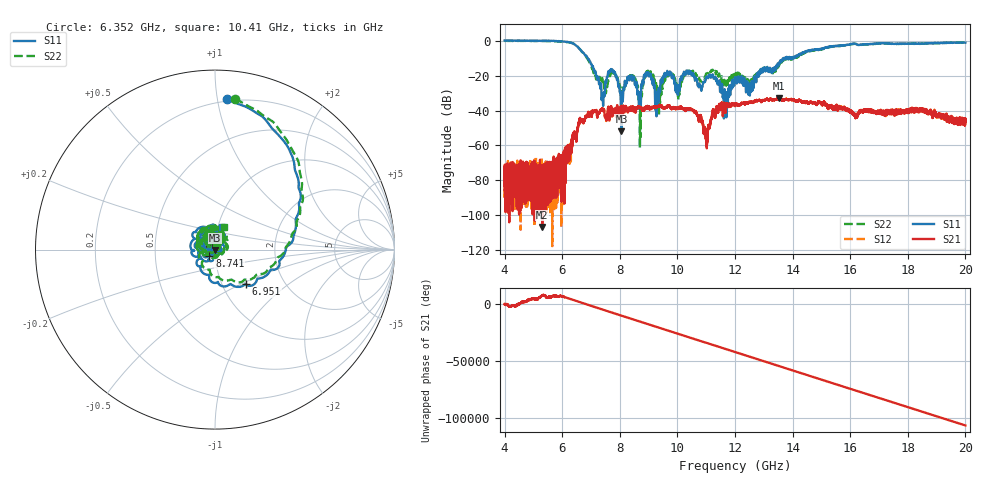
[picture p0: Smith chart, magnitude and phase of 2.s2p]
[Version] 2.0
! Rohde & Schwarz Vector Network Analyzer
! Rohde-Schwarz,ZNL20-2Port,1323001220200009,1.71.1.10-23.02.1.238
! Port Assignments:
! Nominal Port -> Actual Test Port
!  1 -> 1
!  2 -> 2
! Created: GMT+2 2025-01-17 12:07:00
# Hz S RI R 50
[Number of Ports] 2
[Two-Port Data Order] 21_12
! freq[Hz]  S11[Re]  S11[Im]  S21[Re]  S21[Im]  S12[Re]  S12[Im]  S22[Re]  S22[Im]
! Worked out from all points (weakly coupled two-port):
!   16001 points, 4 GHz to 20 GHz, reference 50 ohm
!   highest |S21| = -32.99 dB at 13.52 GHz (marker M1); lowest = -106.6 dB at 5.307 GHz (marker M2)
!   lowest |S11| = -51.9 dB at 8.055 GHz (marker M3), VSWR 1.01, Z = 49.9 - j0.233 ohm
!   |S11| at or under -10 dB: 6.887 GHz to 13.7 GHz (6.814 GHz wide, 66.2 % of centre); 13.71201 GHz to 13.74183 GHz (29.83 MHz wide, 0.217 % of centre); 13.9421 GHz to 13.96586 GHz (23.77 MHz wide, 0.17 % of centre) (the widest 3 of 9)
!   |S22| runs from -61.7 to 0.0 dB; largest |S21 - S12| = 0.0023
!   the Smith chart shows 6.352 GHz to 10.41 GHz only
!   S11 on the Smith chart (normalised r, x): 6.352 GHz: 0.18, +1.07; 6.951 GHz: 1.29, -0.54; 8.741 GHz: 0.94, -0.07; 10.41 GHz: 1.05, +0.26
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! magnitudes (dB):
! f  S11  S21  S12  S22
! 4 GHz  0.0  -71.6  -89.9  -0.2
! 5.307 GHz  -0.1  -106.6  -82.4  -0.3
! 5.765 GHz  -0.2  -72.9  -89.8  -0.5
! 6.352 GHz  -1.5  -60.3  -57.8  -1.5
! 6.667 GHz  -5.9  -45.9  -45.5  -6.0
! 6.951 GHz  -11.7  -42.9  -42.8  -12.6
! 7.401 GHz  -30.4  -39.1  -39.0  -22.4
! 7.719 GHz  -16.8  -41.2  -41.3  -18.9
! 8.055 GHz  -51.9  -37.3  -37.2  -30.9
! 8.424 GHz  -22.7  -39.3  -39.3  -21.6
! 8.741 GHz  -26.4  -38.7  -38.6  -30.1
! 8.999 GHz  -20.2  -37.9  -37.8  -18.7
! 9.334 GHz  -28.1  -37.8  -37.7  -30.4
! 9.618 GHz  -19.8  -38.3  -38.4  -20.9
! 10.41 GHz  -17.8  -39.1  -39.2  -17.3
! 10.98 GHz  -22.3  -54.1  -54.1  -19.6
! 11.67 GHz  -30.1  -40.6  -40.8  -22.5
! 12 GHz  -21.3  -37.4  -37.4  -19.2
! 13.52 GHz  -13.3  -33.0  -33.1  -13.6
! 14.67 GHz  -5.4  -35.4  -35.4  -5.9
! 17.33 GHz  -1.7  -41.4  -40.7  -1.8
! 20 GHz  -1.2  -46.3  -45.3  -1.2
